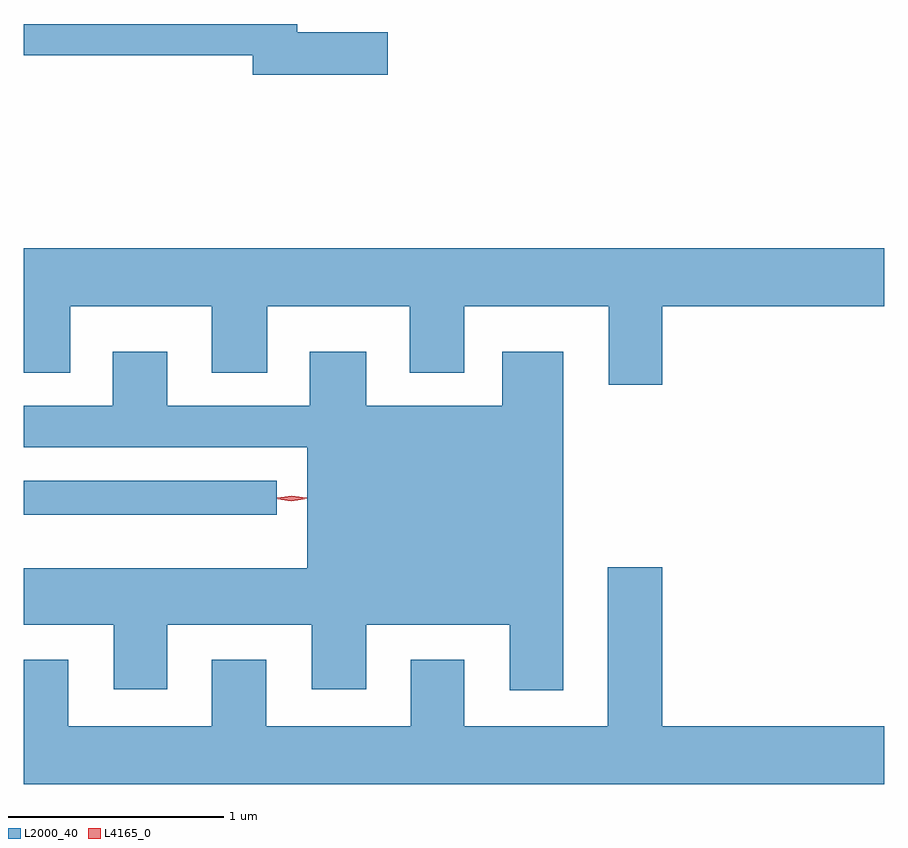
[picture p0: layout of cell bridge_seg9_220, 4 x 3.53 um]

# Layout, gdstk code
import gdstk
lib = gdstk.Library(unit=1e-6, precision=1e-09)
def R(c, l, rs):  # rectangles x0, y0, x1, y1
    for r in rs: c.add(gdstk.rectangle(r[:2], r[2:], *l))
def P(c, l, *ps):  # polygons
    for p in ps: c.add(gdstk.Polygon(p, *l))
L2000_40 = (2000, 40)
L4165_0 = (4165, 0)

bridge_seg9_220 = lib.new_cell('bridge_seg9_220')
R(bridge_seg9_220, L2000_40, [(1343.812,1990.846,1344.988,1991.004)])
P(bridge_seg9_220, L2000_40, [(1345.504,1993.089),(1345.084,1993.089),(1345.084,1993.127),(1343.812,1993.127),(1343.812,1992.981),(1344.876,1992.981),(1344.876,1992.891),(1345.504,1992.891)],
  [(1346.779,1991.816),(1347.812,1991.816),(1347.812,1992.084),(1343.812,1992.084),(1343.812,1991.506),(1344.029,1991.506),(1344.029,1991.816),(1344.686,1991.816),(1344.686,1991.506),(1344.944,1991.506),(1344.944,1991.816),(1345.606,1991.816),(1345.606,1991.506),(1345.859,1991.506),(1345.859,1991.816),(1346.531,1991.816),(1346.531,1991.451),(1346.779,1991.451)],
  [(1346.319,1991.604),(1346.036,1991.604),(1346.036,1991.354),(1345.404,1991.354),(1345.404,1991.604),(1345.141,1991.604),(1345.141,1991.354),(1344.479,1991.354),(1344.479,1991.604),(1344.226,1991.604),(1344.226,1991.354),(1343.812,1991.354),(1343.812,1991.161),(1345.131,1991.161),(1345.131,1990.599),(1343.812,1990.599),(1343.812,1990.336),(1344.231,1990.336),(1344.231,1990.036),(1344.479,1990.036),(1344.479,1990.336),(1345.151,1990.336),(1345.151,1990.036),(1345.404,1990.036),(1345.404,1990.336),(1346.071,1990.336),(1346.071,1990.031),(1346.319,1990.031)],
  [(1347.812,1989.864),(1346.779,1989.864),(1346.779,1990.604),(1346.526,1990.604),(1346.526,1989.864),(1345.859,1989.864),(1345.859,1990.174),(1345.611,1990.174),(1345.611,1989.864),(1344.939,1989.864),(1344.939,1990.174),(1344.686,1990.174),(1344.686,1989.864),(1344.019,1989.864),(1344.019,1990.174),(1343.812,1990.174),(1343.812,1989.596),(1347.812,1989.596)])
P(bridge_seg9_220, L4165_0, [(1345.055,1990.91),(1344.994,1990.919),(1344.993,1990.92),(1344.994,1990.92),(1345.055,1990.93),(1345.117,1990.92),(1345.118,1990.92),(1345.117,1990.919)],
  [(1345.059,1990.915),(1344.99,1990.924),(1344.99,1990.925),(1344.99,1990.925),(1345.059,1990.935),(1345.128,1990.925),(1345.128,1990.925),(1345.128,1990.924)])

lib.write_gds('bridge_seg9_220.gds')
